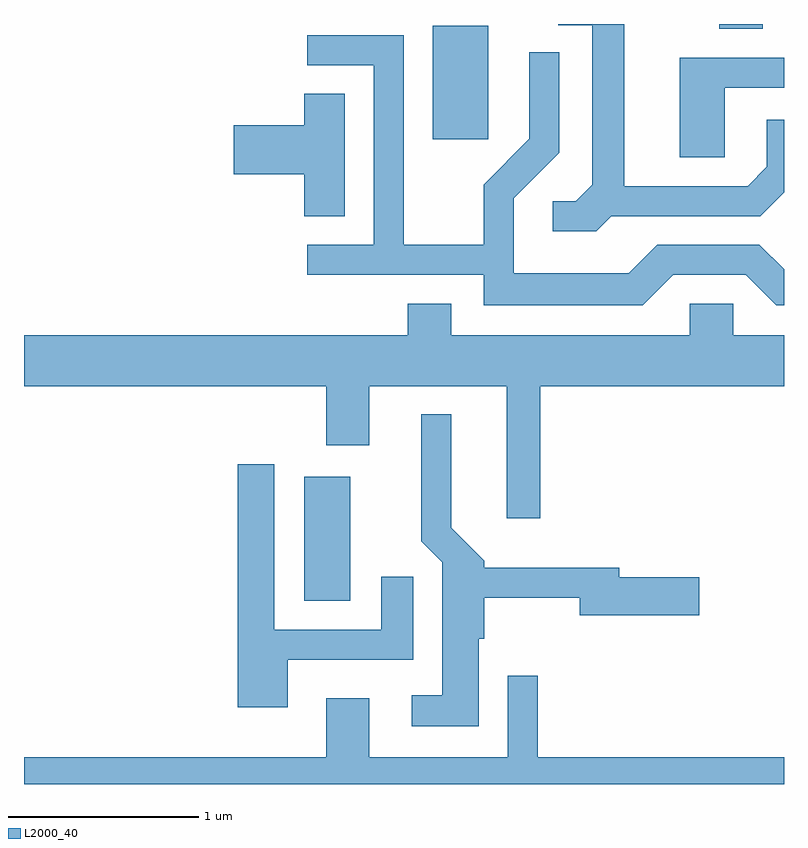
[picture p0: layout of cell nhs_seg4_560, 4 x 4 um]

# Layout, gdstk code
import gdstk
lib = gdstk.Library(unit=1e-6, precision=1e-09)
def R(c, l, rs):  # rectangles x0, y0, x1, y1
    for r in rs: c.add(gdstk.rectangle(r[:2], r[2:], *l))
def P(c, l, *ps):  # polygons
    for p in ps: c.add(gdstk.Polygon(p, *l))
L2000_40 = (2000, 40)

nhs_seg4_560 = lib.new_cell('nhs_seg4_560')
R(nhs_seg4_560, L2000_40, [(203.086,1286.946,203.329,1287.599), (203.761,1289.376,204.054,1289.974), (205.271,1289.956,205.499,1289.982)])
P(nhs_seg4_560, L2000_40, [(204.702,1288.971),(205.487,1288.971),(205.611,1289.096),(205.611,1289.478),(205.521,1289.478),(205.521,1289.232),(205.419,1289.129),(204.769,1289.129),(204.769,1289.982),(204.423,1289.982),(204.423,1289.976),(204.601,1289.976),(204.601,1289.137),(204.514,1289.049),(204.393,1289.049),(204.393,1288.891),(204.622,1288.891)],
  [(205.027,1288.661),(205.409,1288.661),(205.569,1288.501),(205.611,1288.501),(205.611,1288.69),(205.482,1288.819),(204.944,1288.819),(204.794,1288.669),(204.189,1288.669),(204.189,1289.064),(204.429,1289.304),(204.429,1289.833),(204.271,1289.833),(204.271,1289.377),(204.031,1289.137),(204.031,1288.819),(203.609,1288.819),(203.609,1289.924),(203.103,1289.924),(203.103,1289.766),(203.451,1289.766),(203.451,1288.819),(203.103,1288.819),(203.103,1288.661),(204.031,1288.661),(204.031,1288.501),(204.867,1288.501)],
  [(205.299,1289.646),(205.611,1289.646),(205.611,1289.804),(205.061,1289.804),(205.061,1289.281),(205.299,1289.281)],
  [(203.299,1289.614),(203.086,1289.614),(203.086,1289.449),(202.716,1289.449),(202.716,1289.191),(203.086,1289.191),(203.086,1288.971),(203.299,1288.971)],
  [(204.329,1288.076),(205.611,1288.076),(205.611,1288.344),(205.344,1288.344),(205.344,1288.509),(205.116,1288.509),(205.116,1288.344),(203.859,1288.344),(203.859,1288.509),(203.631,1288.509),(203.631,1288.344),(201.611,1288.344),(201.611,1288.076),(203.201,1288.076),(203.201,1287.766),(203.429,1287.766),(203.429,1288.076),(204.151,1288.076),(204.151,1287.381),(204.329,1287.381)],
  [(204.004,1286.746),(204.034,1286.746),(204.034,1286.961),(204.536,1286.961),(204.536,1286.871),(205.164,1286.871),(205.164,1287.069),(204.744,1287.069),(204.744,1287.119),(204.034,1287.119),(204.034,1287.157),(203.859,1287.332),(203.859,1287.928),(203.701,1287.928),(203.701,1287.259),(203.811,1287.149),(203.811,1286.449),(203.653,1286.449),(203.653,1286.286),(204.004,1286.286)],
  [(202.999,1286.636),(203.659,1286.636),(203.659,1287.073),(203.491,1287.073),(203.491,1286.794),(202.929,1286.794),(202.929,1287.664),(202.736,1287.664),(202.736,1286.386),(202.999,1286.386)],
  [(205.611,1286.124),(204.314,1286.124),(204.314,1286.553),(204.156,1286.553),(204.156,1286.124),(203.429,1286.124),(203.429,1286.434),(203.201,1286.434),(203.201,1286.124),(201.611,1286.124),(201.611,1285.982),(205.611,1285.982)])

lib.write_gds('nhs_seg4_560.gds')
